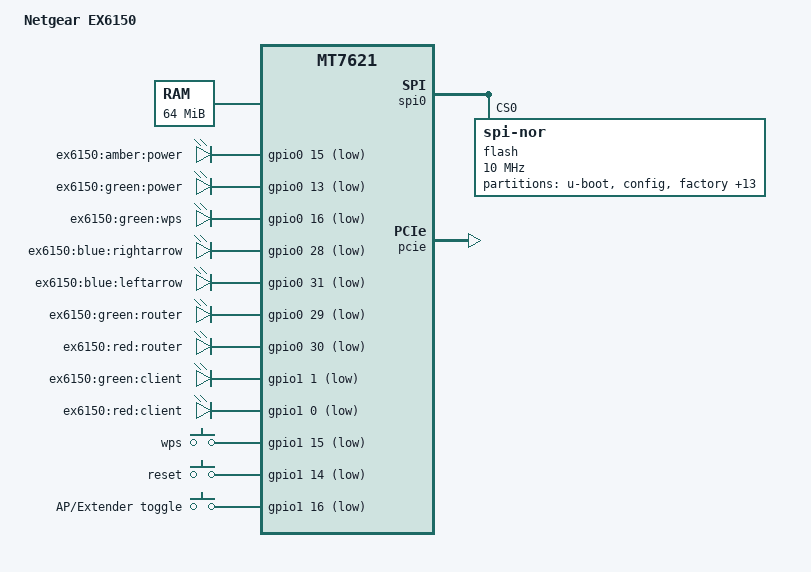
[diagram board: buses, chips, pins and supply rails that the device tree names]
// SPDX-License-Identifier: GPL-2.0-or-later OR MIT
/dts-v1/;

#include "mt7621.dtsi"

#include <dt-bindings/gpio/gpio.h>
#include <dt-bindings/input/input.h>

/ {
	compatible = "netgear,ex6150", "mediatek,mt7621-soc";
	model = "Netgear EX6150";

	aliases {
		led-boot = &power_green;
		led-failsafe = &power_amber;
		led-running = &power_green;
		led-upgrade = &power_amber;
	};

	memory@0 {
		device_type = "memory";
		reg = <0x0 0x4000000>;
	};

	chosen {
		bootargs = "console=ttyS0,57600";
	};

	leds {
		compatible = "gpio-leds";

		power_amber: power_amber {
			label = "ex6150:amber:power";
			gpios = <&gpio0 15 GPIO_ACTIVE_LOW>;
		};

		power_green: power_green {
			label = "ex6150:green:power";
			gpios = <&gpio0 13 GPIO_ACTIVE_LOW>;
		};

		wps {
			label = "ex6150:green:wps";
			gpios = <&gpio0 16 GPIO_ACTIVE_LOW>;
		};

		rightarrow {
			label = "ex6150:blue:rightarrow";
			gpios = <&gpio0 28 GPIO_ACTIVE_LOW>;
		};

		leftarrow {
			label = "ex6150:blue:leftarrow";
			gpios = <&gpio0 31 GPIO_ACTIVE_LOW>;
		};

		router_green {
			label = "ex6150:green:router";
			gpios = <&gpio0 29 GPIO_ACTIVE_LOW>;
			linux,default-trigger = "phy1tpt";
		};

		router_red {
			label = "ex6150:red:router";
			gpios = <&gpio0 30 GPIO_ACTIVE_LOW>;
		};

		client_green {
			label = "ex6150:green:client";
			gpios = <&gpio1 1 GPIO_ACTIVE_LOW>;
			linux,default-trigger = "phy0tpt";
		};

		client_red {
			label = "ex6150:red:client";
			gpios = <&gpio1 0 GPIO_ACTIVE_LOW>;
		};
	};

	keys {
		compatible = "gpio-keys-polled";
		poll-interval = <20>;

		wps {
			label = "wps";
			gpios = <&gpio1 15 GPIO_ACTIVE_LOW>;
			linux,code = <KEY_WPS_BUTTON>;
		};

		reset {
			label = "reset";
			gpios = <&gpio1 14 GPIO_ACTIVE_LOW>;
			linux,code = <KEY_RESTART>;
		};

		toggle {
			label = "AP/Extender toggle";
			gpios = <&gpio1 16 GPIO_ACTIVE_LOW>;
			linux,code = <BTN_0>;
			/* Active when switch is set to "Access Point" */
		};
	};
};

&spi0 {
	status = "okay";

	flash@0 {
		compatible = "jedec,spi-nor";
		reg = <0>;
		spi-max-frequency = <10000000>;

		partitions {
			compatible = "fixed-partitions";
			#address-cells = <1>;
			#size-cells = <1>;

			partition@0 {
				label = "u-boot";
				reg = <0x0 0x30000>;
				read-only;
			};

			partition@30000 {
				label = "config";
				reg = <0x30000 0x10000>;
				read-only;
			};

			factory: partition@40000 {
				label = "factory";
				reg = <0x40000 0x10000>;
				read-only;
			};

			partition@50000 {
				compatible = "denx,uimage";
				label = "firmware";
				reg = <0x50000 0xe80000>;
			};

			partition@ed0000 {
				label = "ML1";
				reg = <0xed0000 0x10000>;
				read-only;
			};

			partition@ef0000 {
				label = "ML2";
				reg = <0xef0000 0x20000>;
				read-only;
			};

			partition@f10000 {
				label = "ML3";
				reg = <0xf10000 0x20000>;
				read-only;
			};

			partition@f30000 {
				label = "ML4";
				reg = <0xf30000 0x20000>;
				read-only;
			};

			partition@f50000 {
				label = "ML5";
				reg = <0xf50000 0x20000>;
				read-only;
			};

			partition@f70000 {
				label = "ML6";
				reg = <0xf70000 0x20000>;
				read-only;
			};

			partition@f90000 {
				label = "ML7";
				reg = <0xf90000 0x20000>;
				read-only;
			};

			partition@fb0000 {
				label = "T_Meter1";
				reg = <0xfb0000 0x10000>;
				read-only;
			};

			partition@fc0000 {
				label = "T_Meter2";
				reg = <0xfc0000 0x10000>;
				read-only;
			};

			partition@fd0000 {
				label = "POT";
				reg = <0xfd0000 0x10000>;
				read-only;
			};

			partition@fe0000 {
				label = "board_data";
				reg = <0xfe0000 0x10000>;
				read-only;
			};

			partition@ff0000 {
				label = "nvram";
				reg = <0xff0000 0x10000>;
				read-only;
			};
		};
	};
};

&pcie {
	status = "okay";
};

&pcie0 {
	wifi@0,0 {
		reg = <0x0000 0 0 0 0>;
		mediatek,mtd-eeprom = <&factory 0x8000>;
		ieee80211-freq-limit = <5000000 6000000>;
	};
};

&pcie1 {
	wifi@0,0 {
		reg = <0x0000 0 0 0 0>;
		mediatek,mtd-eeprom = <&factory 0x0000>;
		ieee80211-freq-limit = <2400000 2500000>;
	};
};

&ethernet {
	mtd-mac-address = <&factory 0x00000004>;
};

&pinctrl {
	state_default: pinctrl0 {
		gpio {
			ralink,group = "sdhci", "rgmii2", "jtag";
			ralink,function = "gpio";
		};
	};
};
